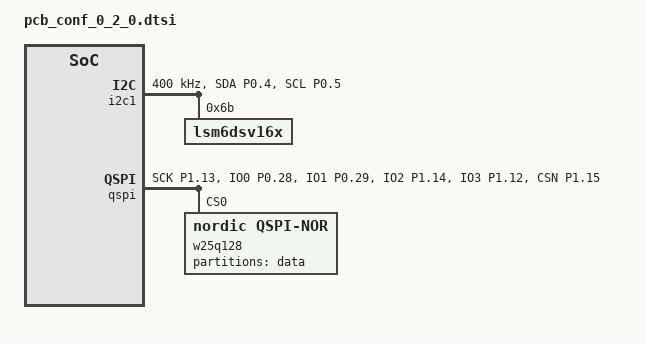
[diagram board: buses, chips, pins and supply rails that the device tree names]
/ {
	chosen {
        nordic,pm-ext-flash = &w25q128;
    };

	gpin {
		imu_int1: imu_int1 {
			label = "IMU interrupt 1 pin";
			gpios = <&xiao_d 1 GPIO_ACTIVE_HIGH>;
		};

		imu_int2: imu_int2 {
			label = "IMU interrupt 2 pin";
			gpios = <&xiao_d 0 GPIO_ACTIVE_HIGH>;
		};
	};

    aliases {
        spi-flash0 = &w25q128;
		imu = &lsm6dsv16x;
		imuint1 = &imu_int1;
		imuint2 = &imu_int2;
    };
};

&uicr {
    nfct-pins-as-gpios;
};

&i2c1 {
	compatible = "nordic,nrf-twi";
	/* Cannot be used together with spi1. */
	status = "okay";
	pinctrl-0 = <&i2c1_default>;
	pinctrl-1 = <&i2c1_sleep>;
	pinctrl-names = "default", "sleep";
	clock-frequency = <I2C_BITRATE_FAST>;
	lsm6dsv16x: lsm6dsv16x@6b {
		status = "okay";
		compatible = "zephyr,lsm6dsv16x";
		reg = <0x6b>;
	};
};

&qspi {
	status = "okay";
	pinctrl-0 = <&qspi_default>;
	pinctrl-1 = <&qspi_sleep>;
	pinctrl-names = "default", "sleep";
	w25q128: w25q128@0 {
		compatible = "nordic,qspi-nor";
		reg = <0>;
		sck-frequency = <16000000>; /* Use only 16MHz. The max frequency of 104MHz corrupts the data when reading/writing. */
		quad-enable-requirements = "S2B1v1";
		jedec-id = [ef 40 18];
		/*
		Refer to the Winbond application note for SFDP Definition table for the correct parameters.
		sfdp-bfp = [
			e5 20 f1 ff  ff ff ff 00  44 eb 08 6b  08 3b 80 bb
			ee ff ff ff  ff ff 00 ff  ff ff 00 ff  0c 20 0f 52
			10 d8 08 81
		];
		 */
		size = <0x8000000>;
		has-dpd;
		t-enter-dpd = <3000>;
		t-exit-dpd = <3000>;

		partitions {
			compatible = "fixed-partitions";
			#address-cells = <1>;
			#size-cells = <1>;

			data_partition: partition@0 {
				label = "data";
				reg = <0x00000000 0x01000000>;
			};
		};
	};
};

&pinctrl {
    uart0_default: uart0_default {
		group1 {
			psels = <NRF_PSEL(UART_TX, 0, 9)>;
		};
		group2 {
			psels = <NRF_PSEL(UART_RX, 0, 10)>;
			bias-pull-up;
		};
	};

	uart0_sleep: uart0_sleep {
		group1 {
			psels = <NRF_PSEL(UART_TX, 0, 9)>,
				<NRF_PSEL(UART_RX, 0, 10)>;
			low-power-enable;
		};
	};

    i2c1_default: i2c1_default {
		group1 {
			psels = <NRF_PSEL(TWIM_SDA, 0, 4)>,
				<NRF_PSEL(TWIM_SCL, 0, 5)>;
		};
	};

	i2c1_sleep: i2c1_sleep {
		group1 {
			psels = <NRF_PSEL(TWIM_SDA, 0, 4)>,
				<NRF_PSEL(TWIM_SCL, 0, 5)>;
			low-power-enable;
		};
	};

    qspi_default: qspi_default {
		group1 {
			psels = <NRF_PSEL(QSPI_SCK, 1, 13)>,
				<NRF_PSEL(QSPI_IO0, 0, 28)>,
				<NRF_PSEL(QSPI_IO1, 0, 29)>,
				<NRF_PSEL(QSPI_IO2, 1, 14)>,
				<NRF_PSEL(QSPI_IO3, 1, 12)>,
				<NRF_PSEL(QSPI_CSN, 1, 15)>;
		};
	};

	qspi_sleep: qspi_sleep {
		group1 {
			psels = <NRF_PSEL(QSPI_SCK, 1, 13)>,
				<NRF_PSEL(QSPI_IO0, 0, 28)>,
				<NRF_PSEL(QSPI_IO1, 0, 29)>,
				<NRF_PSEL(QSPI_IO2, 1, 14)>,
				<NRF_PSEL(QSPI_IO3, 1, 12)>;
			low-power-enable;
		};
		group2 {
			psels = <NRF_PSEL(QSPI_CSN, 1, 15)>;
			low-power-enable;
			bias-pull-up;
		};
	};
};
